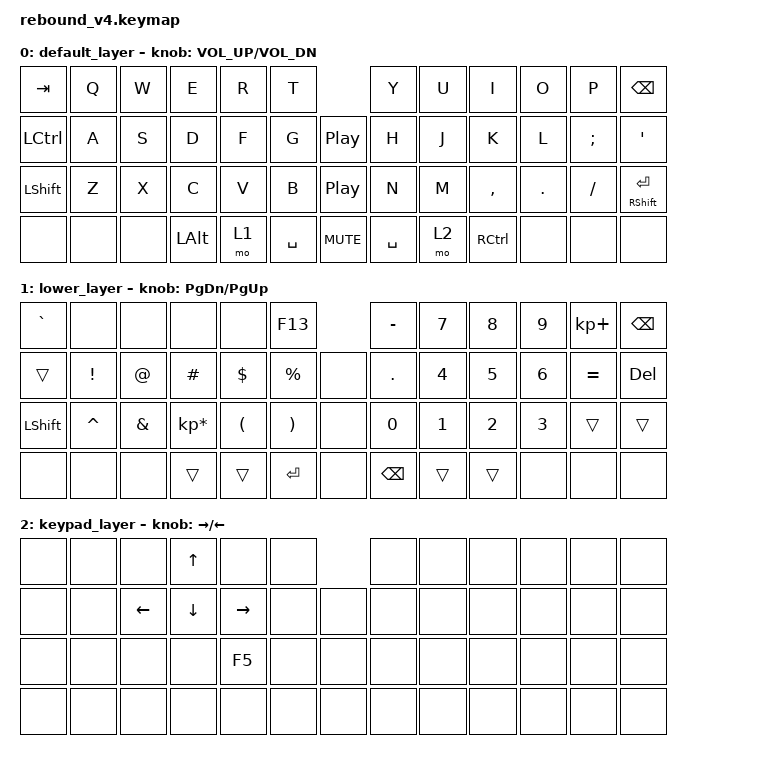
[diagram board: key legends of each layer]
/*
 * Copyright (c) 2020 The ZMK Contributors
 *
 * SPDX-License-Identifier: MIT
 */

#include <behaviors.dtsi>
#include <dt-bindings/zmk/keys.h>
#include <dt-bindings/zmk/bt.h>
#include <dt-bindings/zmk/modifiers.h>
#include <dt-bindings/zmk/outputs.h>

/ {
    behaviors {
        hm: homerow_mods {
            compatible = "zmk,behavior-hold-tap";
            label = "HOMEROW_MODS";
            #binding-cells = <2>;
            tapping_term_ms = <175>;
            flavor = "tap-preferred";
            bindings = <&kp>, <&kp>;
        };
    };

    macros {
	Divider: Divider {
	    compatible = "zmk,behavior-macro";
	    #binding-cells = <0>;
	    bindings = <&kp MINUS &kp MINUS &kp MINUS &kp MINUS &kp MINUS &kp MINUS &kp MINUS &kp MINUS &kp MINUS &kp MINUS &kp MINUS &kp MINUS>;
	    label = "DIVIDER";
        };

        AlightE: AlightE {
            compatible = "zmk,behavior-macro";
            #binding-cells = <0>;
            bindings = <&kp D &kp A &kp V &kp I &kp D &kp DOT &kp T &kp E &kp A &kp N &kp O &kp AT &kp A &kp L &kp I &kp G &kp H &kp T &kp DOT &kp C &kp O &kp M>;
            label = "ALIGHTE";
        };
    };

    keymap {
        compatible = "zmk,keymap";

        default_layer {
// -------------------------------------------------------------------------------------
// |  TAB  |   Q   |   W   |    E   |  R  |  T   |                |  Y  |    U   |    I   |   O   |   P   | BKSP  |
// |  CTRL |   A   |   S   |    D   |  F  |  G   |    | PLAY |    |  H  |    J   |    K   |   L   |   ;   |   '   |
// |  SHFT |   Z   |   X   |    C   |  V  |  B   |    | PLAY |    |  N  |    M   |    ,   |   .   |   /   |  ENT  |
// |       |       |       |   ALT  | LWR | SPC  |    | MUTE |    | SPC |   RSE  |   CTRL |       |       |       |
//                         					  
		bindings = <
   &kp TAB       &kp Q        &kp W     &kp E       &kp R    &kp T                     &kp Y     &kp U     &kp I       &kp O       &kp P      &kp BSPC
   &kp LCTRL     &kp A        &kp S     &kp D       &kp F    &kp G      &kp C_PP       &kp H     &kp J     &kp K       &kp L       &kp SEMI   &kp SQT
   &kp LSHFT     &kp Z        &kp X     &kp C       &kp V    &kp B      &kp C_PP       &kp N     &kp M     &kp COMMA   &kp DOT     &kp FSLH   &mt RSHFT RETURN 
   &none         &none        &none     &kp LALT    &mo 1    &kp SPACE  &kp C_MUTE     &kp SPACE &mo 2     &kp RCTRL   &none       &none      &none  
                        >;

			sensor-bindings = <&inc_dec_kp C_VOL_UP C_VOL_DN>;
                };

        lower_layer {
// ----------------------------------------------------------------------------------
// |   `  |     |     |     |  DIV | F13 |                   |  -   |  7  |  8   |  9  |  +  |  BKSP |
// | CTRL |  !  |  @  |  #  |  $   |  %  |     |       |     |  .   |  4  |  5   |  6  |  =  |  DEL  |
// | SHFT |  ^  |  &  |  *  |  (   |  $  |     |       |     |  0   |  1  |  2   |  3  |     |       |
// |      |     |     | ALT |      | ENT |     |       |     | BKSP |     | CTRL |     |     |       | 
//
		bindings = < 
   &kp GRAVE  &none      &none     &none            &none     &kp F13                   &kp MINUS      &kp NUMBER_7  &kp NUMBER_8  &kp NUMBER_9  &kp KP_PLUS  &kp BACKSPACE   
   &trans     &kp EXCL   &kp AT    &kp HASH         &kp DLLR  &kp PRCNT     &none       &kp DOT        &kp NUMBER_4  &kp NUMBER_5  &kp NUMBER_6  &kp EQUAL    &kp DEL
   &kp LSHFT  &kp CARET  &kp AMPS  &kp KP_MULTIPLY  &kp LPAR  &kp RPAR      &none       &kp NUMBER_0   &kp NUMBER_1  &kp NUMBER_2  &kp NUMBER_3  &trans       &trans
   &none      &none      &none     &trans           &trans    &kp RETURN    &none       &kp BACKSPACE  &trans        &trans        &none         &none        &none
                        >;

			sensor-bindings = <&inc_dec_kp PG_DN PG_UP>;
                };

        keypad_layer {
// -----------------------------------------------------------------------------------------
// |     |     |     |  UP  |      |     |                   |     |     |     |     |     |     |
// |     |     | LFT | DOWN |  RGT |     |     |       |     |     |     |     |     |     |     |
// |     |     |     |      |  F5  |     |     |       |     |     |     |     |     |     |     |
// |     |     |     |      |      |     |     |       |     |     |     |     |     |     |     | 
//                                            
		bindings = <
   &none     &none    &none    &kp UP   &none     &none                     &none     &none    &none    &none    &none     &none   
   &none     &none    &kp LEFT &kp DOWN &kp RIGHT &none         &none       &none     &none    &none    &none    &none     &none
   &none     &none    &none    &none    &kp F5    &none         &none       &none     &none    &none    &none    &none     &none
   &none     &none    &none    &none    &none     &none         &none       &none     &none    &none    &none    &none     &none
                        >;

			sensor-bindings = <&inc_dec_kp RIGHT LEFT>;
                };
	};
};
